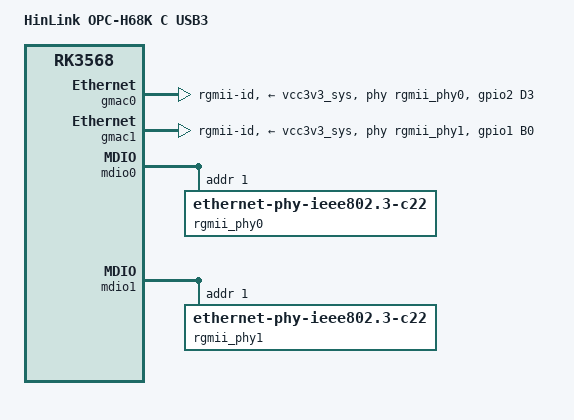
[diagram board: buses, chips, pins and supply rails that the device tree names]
// SPDX-License-Identifier: (GPL-2.0+ OR MIT)
/*
 * HinLink OPC-H68K C USB3.0
 *
 * HinLink 适配 for immortalwrt —— 每机型独立 DTS，不做自适应。
 *
 * 硬件事实来源：厂商 2022 R22.8.22 (armv8-h68k-c) 固件 dtb（已解包反编译逐项核对）
 * 蓝本：OpenWrt 主线 rk3568-hinlink-h68k.dts
 *
 * ★ 本文件同时承载两个历史标识（硬件配置完全相同，已合并）：
 *     hinlink,opc-h68k-c-usb    —— 2022 C/D/F 的 USB3.0 变体
 *     hinlink,opc-h68k-c-usb3   —— 2022.8 的 c-usb3 改型
 *   两者都是「C/D/F 基础上把 SATA 口改成 USB 3.0」，DTS 无任何差异，
 *   故合并为一份 DTS，用两个 compatible 兼容旧固件的 board 匹配。
 *   两个标识的 02_network 映射本来就一致（LAN eth0 eth2 eth3 / WAN eth1）。
 *
 * 2022.8 版：C/D/F 基础上改USB 3.0
 */

/dts-v1/;

#include "rk3568-hinlink-opc.dtsi"

/ {
	model = "HinLink OPC-H68K C USB3";
	compatible = "hinlink,opc-h68k-c-usb3", "hinlink,opc-h68k-c-usb", "rockchip,rk3568";

	aliases {
		ethernet0 = &gmac0;
		ethernet1 = &gmac1;
	};
};
&gmac0 {
	assigned-clocks = <&cru SCLK_GMAC0_RX_TX>, <&cru SCLK_GMAC0>;
	assigned-clock-parents = <&cru SCLK_GMAC0_RGMII_SPEED>;
	assigned-clock-rates = <0>, <125000000>;
	clock_in_out = "output";
	phy-mode = "rgmii-id";
	phy-supply = <&vcc3v3_sys>;
	pinctrl-names = "default";
	pinctrl-0 = <&gmac0_miim
		     &gmac0_tx_bus2
		     &gmac0_rx_bus2
		     &gmac0_rgmii_clk
		     &gmac0_rgmii_bus
		     &gmac0_rstn>;
	snps,reset-gpios = <&gpio2 RK_PD3 GPIO_ACTIVE_LOW>;
	snps,reset-active-low;
	snps,reset-delays-us = <0 20000 100000>;
	tx_delay = <0x3c>;
	rx_delay = <0x2f>;
	phy-handle = <&rgmii_phy0>;
	status = "okay";
};

&gmac1 {
	assigned-clocks = <&cru SCLK_GMAC1_RX_TX>, <&cru SCLK_GMAC1>;
	assigned-clock-parents = <&cru SCLK_GMAC1_RGMII_SPEED>;
	assigned-clock-rates = <0>, <125000000>;
	clock_in_out = "output";
	phy-mode = "rgmii-id";
	phy-supply = <&vcc3v3_sys>;
	pinctrl-names = "default";
	pinctrl-0 = <&gmac1m1_miim
		     &gmac1m1_tx_bus2
		     &gmac1m1_rx_bus2
		     &gmac1m1_rgmii_clk
		     &gmac1m1_rgmii_bus
		     &gmac1_rstn>;
	snps,reset-gpios = <&gpio1 RK_PB0 GPIO_ACTIVE_LOW>;
	snps,reset-active-low;
	snps,reset-delays-us = <0 20000 100000>;
	tx_delay = <0x4f>;
	rx_delay = <0x26>;
	phy-handle = <&rgmii_phy1>;
	status = "okay";
};

&mdio0 {
	rgmii_phy0: ethernet-phy@1 {
		compatible = "ethernet-phy-ieee802.3-c22";
		reg = <0x1>;
	};
};

&mdio1 {
	rgmii_phy1: ethernet-phy@1 {
		compatible = "ethernet-phy-ieee802.3-c22";
		reg = <0x1>;
	};
};

&pinctrl {
	gmac {
		gmac0_rstn: gmac0-rstn {
			rockchip,pins = <2 RK_PD3 RK_FUNC_GPIO &pcfg_pull_none>;
		};

		gmac1_rstn: gmac1-rstn {
			rockchip,pins = <1 RK_PB0 RK_FUNC_GPIO &pcfg_pull_none>;
		};
	};
};

/* ============================================================
 * 本改型即「USB3.0 版」—— combphy0 已分配给 USB3.0
 *
 * 2022.8 的 c-usb3 就是在 C/D/F 基础上把 SATA 口改成 USB 3.0 的改型，
 * 因此不需要再拆 SATA 变体。需要 SATA 的机器请用 rk3568-hinlink-h68k-c-sata.dts
 * （或 -a-sata / -d-sata）。
 *
 * ★ RK3568 硬件复用（rk3568.dtsi 实证）：
 *     sata0  phys = <&combphy0 PHY_TYPE_SATA>   (phy@fe820000)
 *     USB3.0 也需要 combphy0 作 PHY_TYPE_USB3
 *   combphy 同一时刻只能一种 PHY_TYPE ⇒ 二选一。
 *
 * ★ 该复用只存在于 2022-2023 老机器（68k 的 a-b / c / d）。
 *   新机 h68k-new 与 h69k 系不涉及，两者可同时使用。
 * ============================================================ */

&sata0 {
	status = "disabled";
};
